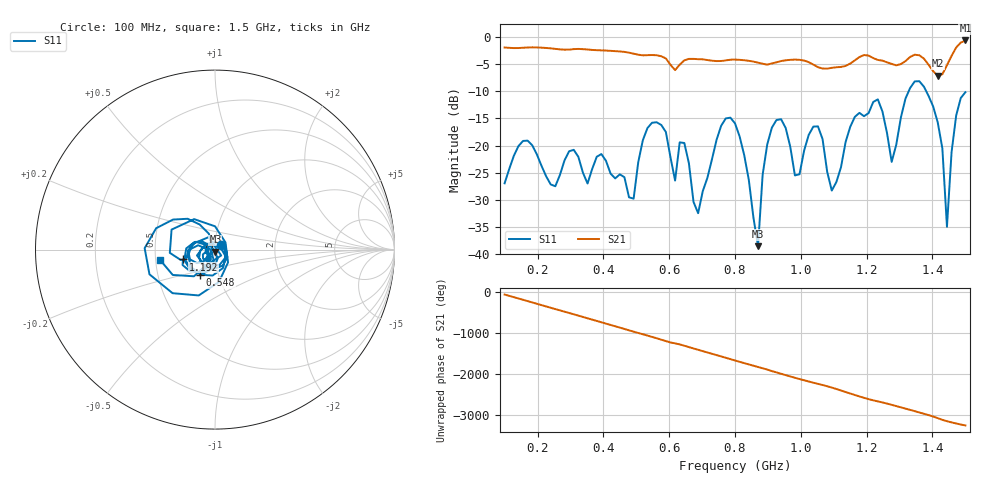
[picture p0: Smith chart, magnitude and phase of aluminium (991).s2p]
! NanoVNA-App
! Date: 2025-09-25 15:03:00
! Start: 100MHz Stop: 1,5GHz Points: 101
! S-Parameter data: F S11 S21 S12 S22
# Hz S RI R 50
!  Frequency  S11_Real  S11_Imag  S21_Real  S21_Imag  S12_Real  S12_Imag  S22_Real  S22_Imag
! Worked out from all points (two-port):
!   101 points, 100 MHz to 1.5 GHz, reference 50 ohm
!   highest |S21| = -0.63 dB at 1.5 GHz (marker M1); lowest = -7.1 dB at 1.416 GHz (marker M2)
!   |S21| within 3 dB of the highest: start of sweep to 579.1 MHz; 1.457 GHz to end of sweep (the widest 2 of 4)
!   lowest |S11| = -38.5 dB at 870 MHz (marker M3), VSWR 1.02, Z = 50.2 - j1.17 ohm
!   |S11| at or under -10 dB: start of sweep to 1.328 GHz; 1.381 GHz to end of sweep
!   S12 and S22 are empty: the file has one direction only
!   S11 on the Smith chart (normalised r, x): 100 MHz: 1.07, +0.06; 548 MHz: 0.82, -0.24; 1.192 GHz: 0.69, -0.08; 1.5 GHz: 0.53, -0.07
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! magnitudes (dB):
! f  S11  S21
! 100 MHz  -27.0  -1.9
! 156 MHz  -19.1  -2.0
! 338 MHz  -25.0  -2.2
! 492 MHz  -29.8  -3.1
! 548 MHz  -15.8  -3.3
! 576 MHz  -16.2  -3.5
! 646 MHz  -19.5  -4.3
! 688 MHz  -32.5  -4.1
! 800 MHz  -15.9  -4.1
! 870 MHz  -38.5  -4.7
! 912 MHz  -16.7  -4.9
! 982 MHz  -25.5  -4.1
! 1.038 GHz  -16.5  -5.1
! 1.094 GHz  -28.3  -5.7
! 1.192 GHz  -14.6  -3.3
! 1.234 GHz  -11.5  -4.2
! 1.276 GHz  -23.0  -4.9
! 1.346 GHz  -8.2  -3.3
! 1.416 GHz  -15.7  -7.1
! 1.444 GHz  -35.0  -5.2
! 1.472 GHz  -14.5  -1.9
! 1.5 GHz  -10.2  -0.6
